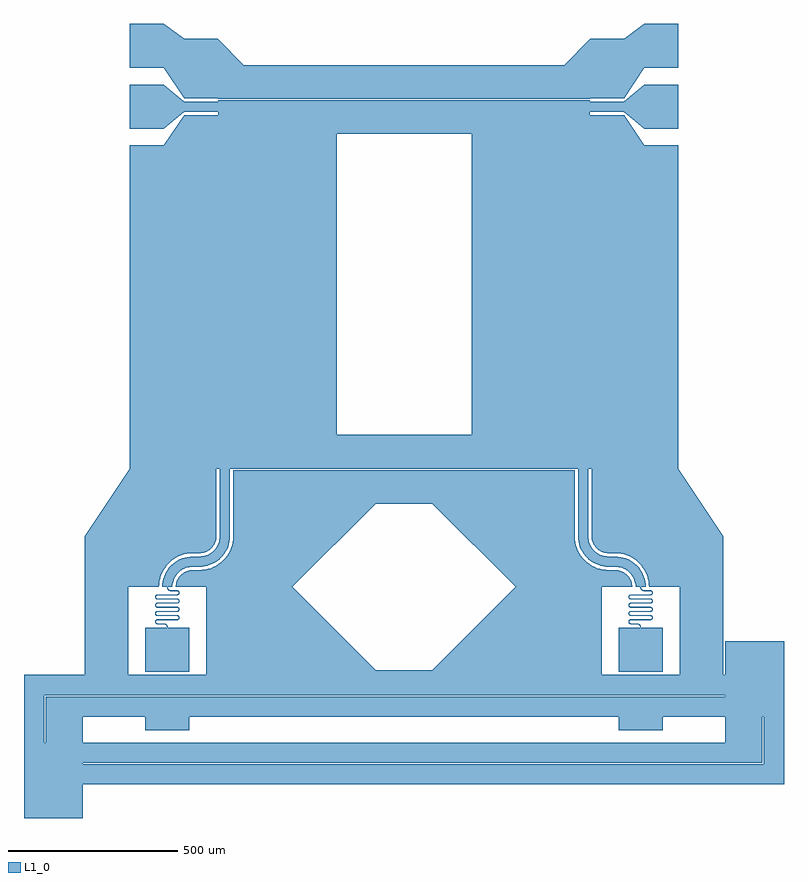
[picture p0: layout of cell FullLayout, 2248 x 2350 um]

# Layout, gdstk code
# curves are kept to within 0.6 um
from math import pi, radians
import gdstk
lib = gdstk.Library(unit=1e-6, precision=1e-10)
def R(c, l, rs):  # rectangles x0, y0, x1, y1
    for r in rs: c.add(gdstk.rectangle(r[:2], r[2:], *l))
def A(c, l, x, y, w, h, nx, ny, dx, dy):  # array of equal rectangles
    R(c, l, [(x+i*dx, y+j*dy, x+i*dx+w, y+j*dy+h) for i in range(nx) for j in range(ny)])
def P(c, l, *ps):  # polygons
    for p in ps: c.add(gdstk.Polygon(p, *l))
L1_0 = (1, 0)

ebond_0 = lib.new_cell('EBOND_0')

ebond_1 = lib.new_cell('EBOND_1')

ebond_2 = lib.new_cell('EBOND_2')

ebond_3 = lib.new_cell('EBOND_3')

ebond_4 = lib.new_cell('EBOND_4')
P(ebond_4, L1_0, [(12.5,-150),(11.5485,-145.2165),(8.8388,-141.1612),(4.7835,-138.4515),(0,-137.5),(-4.7835,-138.4515),(-8.8388,-141.1612),(-11.5485,-145.2165),(-12.5,-150),(-11.5485,-154.7835),(-8.8388,-158.8388),(-4.7835,-161.5485),(0,-162.5),(4.7835,-161.5485),(8.8388,-158.8388),(11.5485,-154.7835)],
  [(12.5,0),(11.5485,4.7835),(8.8388,8.8388),(4.7835,11.5485),(0,12.5),(-4.7835,11.5485),(-8.8388,8.8388),(-11.5485,4.7835),(-12.5,0),(-11.5485,-4.7835),(-8.8388,-8.8388),(-4.7835,-11.5485),(0,-12.5),(4.7835,-11.5485),(8.8388,-8.8388),(11.5485,-4.7835)])

fulllayout = lib.new_cell('FullLayout')
A(fulllayout, L1_0, -280.5, 1026, 100, 130, 1, 3, 0, 180)
A(fulllayout, L1_0, 1241, 1026, 100, 130, 1, 3, 0, 180)
R(fulllayout, L1_0, [(-594,-834,-420,-671), (-420,-734,1480,-674), (-420,-670,1480,-610), (1480,-670,1590,-535), (-530,-609,-420,-474), (-235,-574,-105,-474), (1165,-574,1295,-474), (-420,-534,1480,-474), (1480,-473,1654,-310), (-420,-470,1480,-410), (-415,-410,-285,-150), (-55,-410,75,-150), (985,-410,1115,-150), (1345,-410,1475,-150), (-235,-400,-105,-270), (1165,-400,1295,-270), (-200,0,-25,200), (-15,0,15,200), (25,0,200,196), (860,0,1035,196), (1045,0,1075,200), (1085,0,1260,200), (25,96,1035,196), (-280.5,200,-20.5,1156), (-19.5,200,330.5,1290), (0,200,1060,300), (730,200,1080,1290), (1081,200,1341,1156), (-120.5,1071,-20.5,1246), (1081,1071,1181,1246), (0,1190,1060,1290), (-120,1256,-19.5,1286), (1080,1256,1180.5,1286), (-20.5,1294,1081,1394), (-120.5,1296,-20.5,1471), (1081,1296,1181,1471)])
P(fulllayout, L1_0, [(1004,1394),(1081,1471),(1081,1394)],
  [(-20.5,1471),(56.5,1394),(-20.5,1394)],
  [(1340.5,199.9981),(1475,-0.0019),(1260,-0.0019),(1260,199.9981)],
  [(-280.5,200),(-415,0),(-200,0),(-200,200)],
  [(75,-150),(199.5,-150),(200,-396),(860,-396),(860,-150),(985,-150),(985,-410),(75,-410)],
  [(860,-150),(614,-396),(860,-396)],
  [(614,96),(860,-150),(860,96)],
  [(446,-396),(200,-150),(200,-396)],
  [(200,-150),(446,96),(200,96)],
  [(1654,-474),(1480,-474),(1480,-534),(1594,-534),(1594,-674),(1480,-674),(1480,-734),(1654,-734)],
  [(-195,-150),(-193.4808,-132.6352),(-188.9693,-115.798),(-185.6308,-107.7382),(-176.9152,-92.6424),(-171.6044,-85.7212),(-159.2788,-73.3956),(-152.3576,-68.0848),(-137.2618,-59.3692),(-120.8819,-53.4074),(-103.7156,-50.3805),(-66.3176,-49.2404),(-57.899,-46.9846),(-50,-43.3013),(-39.6447,-35.3553),(-31.6987,-25),(-26.7037,-12.941),(-25,0),(-415,0),(-415,-150)],
  [(1085,0),(1086.7037,-12.941),(1091.6987,-25),(1099.6447,-35.3553),(1110,-43.3013),(1117.899,-46.9846),(1126.3176,-49.2404),(1163.7156,-50.3805),(1180.8819,-53.4074),(1197.2618,-59.3692),(1212.3576,-68.0848),(1219.2788,-73.3956),(1231.6044,-85.7212),(1236.9152,-92.6424),(1245.6308,-107.7382),(1248.9693,-115.798),(1253.4808,-132.6352),(1255,-150),(1475,-150),(1475,0)],
  [(1205,-150),(1203.2963,-137.059),(1198.3013,-125),(1190.3553,-114.6447),(1180,-106.6987),(1172.101,-103.0154),(1163.6824,-100.7596),(1126.2844,-99.6195),(1109.1181,-96.5926),(1092.7382,-90.6308),(1077.6424,-81.9152),(1070.7212,-76.6044),(1058.3956,-64.2788),(1053.0848,-57.3576),(1044.3692,-42.2618),(1041.0307,-34.202),(1036.5192,-17.3648),(1035,0),(860,0),(860,-150)],
  [(1045,0),(1046.3673,-15.6283),(1048.0667,-23.2937),(1053.4323,-38.0356),(1057.0577,-45),(1066.056,-57.8509),(1077.1491,-68.944),(1083.3781,-73.7237),(1096.9644,-81.5677),(1111.7063,-86.9333),(1127.156,-89.6575),(1160.2293,-90.2283),(1170.5291,-92.0445),(1180.3571,-95.6215),(1193.5673,-104.0373),(1204.1491,-115.5854),(1211.3816,-129.4788),(1214.0885,-139.5811),(1215,-150),(1245,-150),(1243.6327,-134.3717),(1241.9333,-126.7063),(1236.5677,-111.9644),(1232.9423,-105),(1223.944,-92.1491),(1212.8509,-81.056),(1206.6219,-76.2763),(1193.0356,-68.4323),(1178.2937,-63.0667),(1162.844,-60.3425),(1129.7707,-59.7717),(1119.4709,-57.9555),(1109.6429,-54.3785),(1096.4327,-45.9627),(1085.8509,-34.4146),(1078.6184,-20.5212),(1075.9115,-10.4189),(1075,0)],
  [(1229,-150),(1229.3748,-153.847),(1230.9893,-157.3093),(1232.9293,-159.4265),(1236.2378,-161.3366),(1240,-162),(1259.2752,-162.0195),(1261.391,-162.6866),(1263.0267,-164.1854),(1263.934,-166.6783),(1263.6444,-168.8779),(1262.4524,-170.7489),(1260.5814,-171.9409),(1258.8285,-172.25),(1199.9343,-172.3582),(1198.1603,-172.9176),(1196.5916,-173.9169),(1195.335,-175.2883),(1194.4762,-176.9381),(1194.0736,-178.754),(1194.1547,-180.6122),(1194.7141,-182.3862),(1195.7134,-183.9549),(1198.1603,-185.8324),(1201.1715,-186.5),(1259.7184,-186.5779),(1261.7681,-187.4268),(1263.4733,-189.4591),(1263.9535,-191.625),(1263.2669,-194.1875),(1261.391,-196.0634),(1258.8285,-196.75),(1199.9343,-196.8582),(1198.1603,-197.4176),(1196.5916,-198.4169),(1194.7141,-200.8638),(1194.0465,-203.875),(1194.7141,-206.8862),(1195.7134,-208.4549),(1197.0848,-209.7115),(1198.7346,-210.5703),(1200.5505,-210.9729),(1259.7184,-211.0779),(1261.7681,-211.9268),(1263.2669,-213.5625),(1263.9535,-216.125),(1263.4733,-218.2909),(1261.7681,-220.3232),(1259.2752,-221.2305),(1199.9343,-221.3582),(1197.0848,-222.5385),(1195.0011,-224.8125),(1194.0736,-227.754),(1194.4762,-230.8119),(1195.335,-232.4617),(1196.5916,-233.8331),(1198.7346,-235.0703),(1200.5505,-235.4729),(1259.7184,-235.5779),(1261.7681,-236.4268),(1263.2669,-238.0625),(1263.934,-240.1783),(1263.6444,-242.3779),(1263.0267,-243.5646),(1261.7681,-244.8232),(1259.2752,-245.7305),(1199.9343,-245.8582),(1197.609,-246.7046),(1195.7134,-248.2951),(1194.4762,-250.4381),(1194.0465,-252.875),(1194.4762,-255.3119),(1195.7134,-257.4549),(1197.0848,-258.7115),(1199.3274,-259.7572),(1201.1715,-260),(1220.7844,-260.0342),(1223.8036,-260.8432),(1226.364,-262.636),(1227.7942,-264.5),(1228.8633,-267.4372),(1229,-270),(1231,-270),(1230.6252,-266.153),(1229.0107,-262.6907),(1227.0707,-260.5735),(1223.7622,-258.6634),(1220,-258),(1200.7248,-257.9805),(1198.609,-257.3134),(1196.9733,-255.8146),(1196.066,-253.3217),(1196.3556,-251.1221),(1197.5476,-249.2511),(1199.4186,-248.0591),(1201.1715,-247.75),(1260.0657,-247.6418),(1261.8397,-247.0824),(1263.4084,-246.0831),(1264.665,-244.7117),(1265.5238,-243.0619),(1265.9264,-241.246),(1265.8453,-239.3878),(1265.2859,-237.6138),(1264.2866,-236.0451),(1261.8397,-234.1676),(1258.8285,-233.5),(1200.2816,-233.4221),(1198.2319,-232.5732),(1196.5267,-230.5409),(1196.0465,-228.375),(1196.7331,-225.8125),(1198.609,-223.9366),(1201.1715,-223.25),(1260.0657,-223.1418),(1261.8397,-222.5824),(1263.4084,-221.5831),(1265.2859,-219.1362),(1265.9535,-216.125),(1265.2859,-213.1138),(1264.2866,-211.5451),(1262.9152,-210.2885),(1261.2654,-209.4297),(1259.4495,-209.0271),(1200.2816,-208.9221),(1198.2319,-208.0732),(1196.7331,-206.4375),(1196.0465,-203.875),(1196.5267,-201.7091),(1198.2319,-199.6768),(1200.7248,-198.7695),(1260.0657,-198.6418),(1262.9152,-197.4615),(1264.9989,-195.1875),(1265.9264,-192.246),(1265.5238,-189.1881),(1264.665,-187.5383),(1263.4084,-186.1669),(1261.2654,-184.9297),(1259.4495,-184.5271),(1200.2816,-184.4221),(1198.2319,-183.5732),(1196.7331,-181.9375),(1196.066,-179.8217),(1196.3556,-177.6221),(1196.9733,-176.4354),(1198.2319,-175.1768),(1200.7248,-174.2695),(1260.0657,-174.1418),(1262.391,-173.2954),(1264.2866,-171.7049),(1265.5238,-169.5619),(1265.9535,-167.125),(1265.5238,-164.6881),(1264.2866,-162.5451),(1262.9152,-161.2885),(1260.6726,-160.2428),(1258.8285,-160),(1239.2156,-159.9658),(1236.1964,-159.1568),(1233.636,-157.364),(1232.2058,-155.5),(1231.1367,-152.5628),(1231,-150)],
  [(-594,-670),(-420,-670),(-420,-610),(-534,-610),(-534,-470),(-420,-470),(-420,-410),(-594,-410)],
  [(25,0),(23.4808,-17.3648),(18.9693,-34.202),(15.6308,-42.2618),(6.9152,-57.3576),(1.6044,-64.2788),(-10.7212,-76.6044),(-17.6424,-81.9152),(-32.7382,-90.6308),(-49.1181,-96.5926),(-66.2844,-99.6195),(-103.6824,-100.7596),(-112.101,-103.0154),(-120,-106.6987),(-130.3553,-114.6447),(-138.3013,-125),(-143.2963,-137.059),(-145,-150),(200,-150),(200,0)],
  [(-15,0),(-17.0445,-15.5291),(-23.0385,-30),(-32.5736,-42.4264),(-45,-51.9615),(-54.4788,-56.3816),(-64.5811,-59.0885),(-102.844,-60.3425),(-118.2937,-63.0667),(-133.0356,-68.4323),(-140,-72.0577),(-152.8509,-81.056),(-163.944,-92.1491),(-168.7237,-98.3781),(-176.5677,-111.9644),(-181.9333,-126.7063),(-183.6327,-134.3717),(-185,-150),(-155,-150),(-154.0885,-139.5811),(-151.3816,-129.4788),(-144.1491,-115.5854),(-133.5673,-104.0373),(-120.3571,-95.6215),(-110.5291,-92.0445),(-100.2293,-90.2283),(-67.156,-89.6575),(-51.7063,-86.9333),(-36.9644,-81.5677),(-30,-77.9423),(-17.1491,-68.944),(-6.056,-57.8509),(-1.2763,-51.6219),(6.5677,-38.0356),(11.9333,-23.2937),(13.6327,-15.6283),(15,0)],
  [(-171,-150),(-170.6252,-153.847),(-169.0107,-157.3093),(-167.0707,-159.4265),(-163.7622,-161.3366),(-160,-162),(-140.7248,-162.0195),(-138.609,-162.6866),(-136.9733,-164.1854),(-136.066,-166.6783),(-136.3556,-168.8779),(-137.5476,-170.7489),(-139.4186,-171.9409),(-141.1715,-172.25),(-200.0657,-172.3582),(-201.8397,-172.9176),(-203.4084,-173.9169),(-204.665,-175.2883),(-205.5238,-176.9381),(-205.9264,-178.754),(-205.8453,-180.6122),(-205.2859,-182.3862),(-204.2866,-183.9549),(-201.8397,-185.8324),(-198.8285,-186.5),(-140.2816,-186.5779),(-138.2319,-187.4268),(-136.5267,-189.4591),(-136.0465,-191.625),(-136.7331,-194.1875),(-138.609,-196.0634),(-141.1715,-196.75),(-200.0657,-196.8582),(-201.8397,-197.4176),(-203.4084,-198.4169),(-205.2859,-200.8638),(-205.9535,-203.875),(-205.2859,-206.8862),(-204.2866,-208.4549),(-202.9152,-209.7115),(-201.2654,-210.5703),(-199.4495,-210.9729),(-140.2816,-211.0779),(-138.2319,-211.9268),(-136.7331,-213.5625),(-136.0465,-216.125),(-136.5267,-218.2909),(-138.2319,-220.3232),(-140.7248,-221.2305),(-200.0657,-221.3582),(-202.9152,-222.5385),(-204.9989,-224.8125),(-205.9264,-227.754),(-205.5238,-230.8119),(-204.665,-232.4617),(-203.4084,-233.8331),(-201.2654,-235.0703),(-199.4495,-235.4729),(-140.2816,-235.5779),(-138.2319,-236.4268),(-136.7331,-238.0625),(-136.066,-240.1783),(-136.3556,-242.3779),(-136.9733,-243.5646),(-138.2319,-244.8232),(-140.7248,-245.7305),(-200.0657,-245.8582),(-202.391,-246.7046),(-204.2866,-248.2951),(-205.5238,-250.4381),(-205.9535,-252.875),(-205.5238,-255.3119),(-204.2866,-257.4549),(-202.9152,-258.7115),(-200.6726,-259.7572),(-198.8285,-260),(-179.2156,-260.0342),(-176.1964,-260.8432),(-173.636,-262.636),(-172.2058,-264.5),(-171.1367,-267.4372),(-171,-270),(-169,-270),(-169.3748,-266.153),(-170.9893,-262.6907),(-172.9293,-260.5735),(-176.2378,-258.6634),(-180,-258),(-199.2752,-257.9805),(-201.391,-257.3134),(-203.0267,-255.8146),(-203.934,-253.3217),(-203.6444,-251.1221),(-202.4524,-249.2511),(-200.5814,-248.0591),(-198.8285,-247.75),(-139.9343,-247.6418),(-138.1603,-247.0824),(-136.5916,-246.0831),(-135.335,-244.7117),(-134.4762,-243.0619),(-134.0736,-241.246),(-134.1547,-239.3878),(-134.7141,-237.6138),(-135.7134,-236.0451),(-138.1603,-234.1676),(-141.1715,-233.5),(-199.7184,-233.4221),(-201.7681,-232.5732),(-203.4733,-230.5409),(-203.9535,-228.375),(-203.2669,-225.8125),(-201.391,-223.9366),(-198.8285,-223.25),(-139.9343,-223.1418),(-138.1603,-222.5824),(-136.5916,-221.5831),(-134.7141,-219.1362),(-134.0465,-216.125),(-134.7141,-213.1138),(-135.7134,-211.5451),(-137.0848,-210.2885),(-138.7346,-209.4297),(-140.5505,-209.0271),(-199.7184,-208.9221),(-201.7681,-208.0732),(-203.2669,-206.4375),(-203.9535,-203.875),(-203.4733,-201.7091),(-201.7681,-199.6768),(-199.2752,-198.7695),(-139.9343,-198.6418),(-137.0848,-197.4615),(-135.0011,-195.1875),(-134.0736,-192.246),(-134.4762,-189.1881),(-135.335,-187.5383),(-136.5916,-186.1669),(-138.7346,-184.9297),(-140.5505,-184.5271),(-199.7184,-184.4221),(-201.7681,-183.5732),(-203.2669,-181.9375),(-203.934,-179.8217),(-203.6444,-177.6221),(-203.0267,-176.4354),(-201.7681,-175.1768),(-199.2752,-174.2695),(-139.9343,-174.1418),(-137.609,-173.2954),(-135.7134,-171.7049),(-134.4762,-169.5619),(-134.0465,-167.125),(-134.4762,-164.6881),(-135.7134,-162.5451),(-137.0848,-161.2885),(-139.3274,-160.2428),(-141.1715,-160),(-160.7844,-159.9658),(-163.8036,-159.1568),(-166.364,-157.364),(-167.7942,-155.5),(-168.8633,-152.5628),(-169,-150)],
  [(1181,1471),(1241,1516),(1241,1386),(1181,1296)],
  [(1181,1246),(1241,1156),(1241,1026),(1181,1071)],
  [(1180.5,1286),(1241,1336),(1241,1206),(1180.5,1256)],
  [(-120,1256),(-180.5,1206),(-180.5,1336),(-120,1286)],
  [(-120.5,1296),(-180.5,1386),(-180.5,1516),(-120.5,1471)],
  [(-120.5,1071),(-180.5,1026),(-180.5,1156),(-120.5,1246)])
fulllayout.add(gdstk.FlexPath([(1480,-674),(1480,-734)], 0, ends="flush", simple_path=True, layer=1, datatype=0))  # L1_0
fulllayout.add(gdstk.FlexPath([(1480,-610),(1480,-670)], 0, ends="flush", simple_path=True, layer=1, datatype=0))  # L1_0
fulllayout.add(gdstk.FlexPath([(1480,-474),(1480,-534)], 0, ends="flush", simple_path=True, layer=1, datatype=0))  # L1_0
fulllayout.add(gdstk.FlexPath([(-420,-534),(-420,-474)], 0, ends="flush", simple_path=True, layer=1, datatype=0))  # L1_0
fulllayout.add(gdstk.FlexPath([(-420,-470),(-420,-410)], 0, ends="flush", simple_path=True, layer=1, datatype=0))  # L1_0
fulllayout.add(gdstk.FlexPath([(1341,1256),(1341,1286)], 0, ends="flush", simple_path=True, layer=1, datatype=0))  # L1_0
fulllayout.add(gdstk.FlexPath([(1341,1076),(1341,1106)], 0, ends="flush", simple_path=True, layer=1, datatype=0))  # L1_0
fulllayout.add(gdstk.FlexPath([(1341,1436),(1341,1466)], 0, ends="flush", simple_path=True, layer=1, datatype=0))  # L1_0
fulllayout.add(gdstk.FlexPath([(-280.5,1106),(-280.5,1076)], 0, ends="flush", simple_path=True, layer=1, datatype=0))  # L1_0
fulllayout.add(gdstk.FlexPath([(-280.5,1289),(-280.5,1259)], 0, ends="flush", simple_path=True, layer=1, datatype=0))  # L1_0
fulllayout.add(gdstk.FlexPath([(-280.5,1466),(-280.5,1436)], 0, ends="flush", simple_path=True, layer=1, datatype=0))  # L1_0
fulllayout.add(gdstk.Reference(ebond_0, (1230,-354)))
fulllayout.add(gdstk.Reference(ebond_1, (-170,-354)))
fulllayout.add(gdstk.Reference(ebond_2, (1508,-434)))
fulllayout.add(gdstk.Reference(ebond_2, (-496,-556)))
fulllayout.add(gdstk.Reference(ebond_3, (1558,-584)))
fulllayout.add(gdstk.Reference(ebond_3, (-446,-706)))
fulllayout.add(gdstk.Reference(ebond_4, (1292.75,-127), rotation=3*pi/2))
fulllayout.add(gdstk.Reference(ebond_4, (-89.75,-125.75), rotation=3*pi/2))
fulllayout.add(gdstk.Reference(ebond_4, (1125.75,162), rotation=3*pi/2))
fulllayout.add(gdstk.Reference(ebond_4, (78.25,159.75), rotation=3*pi/2))
fulllayout.add(gdstk.Reference(ebond_4, (1129.5,1344.75)))
fulllayout.add(gdstk.Reference(ebond_4, (-63.3805,1342.9034)))

lib.write_gds('FullLayout.gds')
